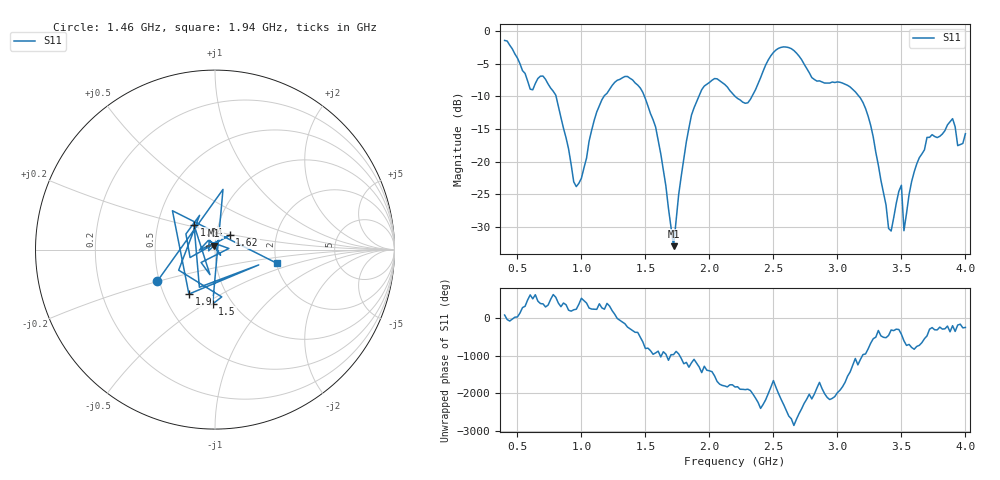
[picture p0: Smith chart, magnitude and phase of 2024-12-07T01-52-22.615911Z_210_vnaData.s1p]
!Created with skrf (http://scikit-rf.org).
# Hz S RI R 50.0
!freq ReS11 ImS11
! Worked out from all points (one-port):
!   181 points, 400 MHz to 4 GHz, reference 50 ohm
!   lowest |S11| = -32.9 dB at 1.72 GHz (marker M1), VSWR 1.05, Z = 49.4 + j2.16 ohm
!   |S11| at or under -10 dB: 801.9 MHz to 1.177 GHz (374.8 MHz wide, 37.9 % of centre); 1.492 GHz to 1.917 GHz (425.1 MHz wide, 24.9 % of centre); 3.169 GHz to end of sweep (the widest 3 of 4)
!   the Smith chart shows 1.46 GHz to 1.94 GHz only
!   S11 on the Smith chart (normalised r, x): 1.46 GHz: 0.49, -0.20; 1.5 GHz: 0.81, -0.54; 1.62 GHz: 1.16, +0.19; 1.84 GHz: 0.76, +0.22; 1.9 GHz: 0.67, -0.36; 1.94 GHz: 2.02, -0.36
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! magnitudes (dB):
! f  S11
! 400 MHz  -1.5
! 600 MHz  -8.9
! 720 MHz  -7.4
! 860 MHz  -14.9
! 960 MHz  -23.8
! 1.12 GHz  -12.4
! 1.3 GHz  -7.4
! 1.46 GHz  -8.7
! 1.5 GHz  -10.4
! 1.62 GHz  -18.8
! 1.72 GHz  -32.9
! 1.76 GHz  -25.0
! 1.84 GHz  -14.8
! 1.9 GHz  -10.8
! 1.94 GHz  -9.0
! 2.2 GHz  -10.0
! 2.3 GHz  -11.0
! 2.5 GHz  -3.3
! 2.66 GHz  -3.0
! 3.1 GHz  -8.6
! 3.26 GHz  -14.4
! 3.4 GHz  -30.2
! 3.5 GHz  -23.6
! 3.52 GHz  -30.5
! 3.56 GHz  -25.0
! 3.7 GHz  -16.3
! 3.9 GHz  -13.4
! 4 GHz  -15.7
